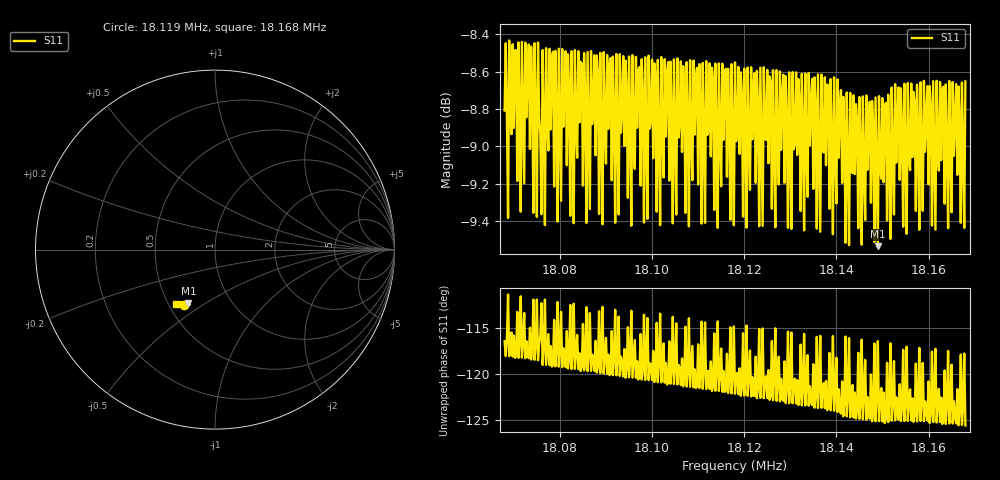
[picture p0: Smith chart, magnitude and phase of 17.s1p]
# Hz S RI R 50
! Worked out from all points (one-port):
!   401 points, 18.068 MHz to 18.168 MHz, reference 50 ohm
!   lowest |S11| = -9.5 dB at 18.149 MHz (marker M1), VSWR 2.00, Z = 31.5 - j21.2 ohm
!   |S11| at or under -10 dB: nowhere
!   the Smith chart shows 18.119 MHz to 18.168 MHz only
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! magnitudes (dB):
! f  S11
! 18.068 MHz  -8.8
! 18.0708 MHz  -9.2
! 18.0718 MHz  -8.4
! 18.0735 MHz  -9.0
! 18.0763 MHz  -8.5
! 18.078 MHz  -8.9
! 18.0805 MHz  -8.5
! 18.093 MHz  -8.5
! 18.1055 MHz  -8.5
! 18.11 MHz  -9.2
! 18.111 MHz  -8.6
! 18.1127 MHz  -9.1
! 18.1145 MHz  -8.6
! 18.1163 MHz  -9.2
! 18.118 MHz  -8.6
! 18.1225 MHz  -9.2
! 18.1235 MHz  -8.6
! 18.1253 MHz  -9.1
! 18.1305 MHz  -8.6
! 18.135 MHz  -9.2
! 18.136 MHz  -8.6
! 18.1378 MHz  -9.1
! 18.143 MHz  -8.7
! 18.149 MHz  -9.5
! 18.152 MHz  -8.7
! 18.1537 MHz  -9.2
! 18.1555 MHz  -8.7
! 18.168 MHz  -8.7
